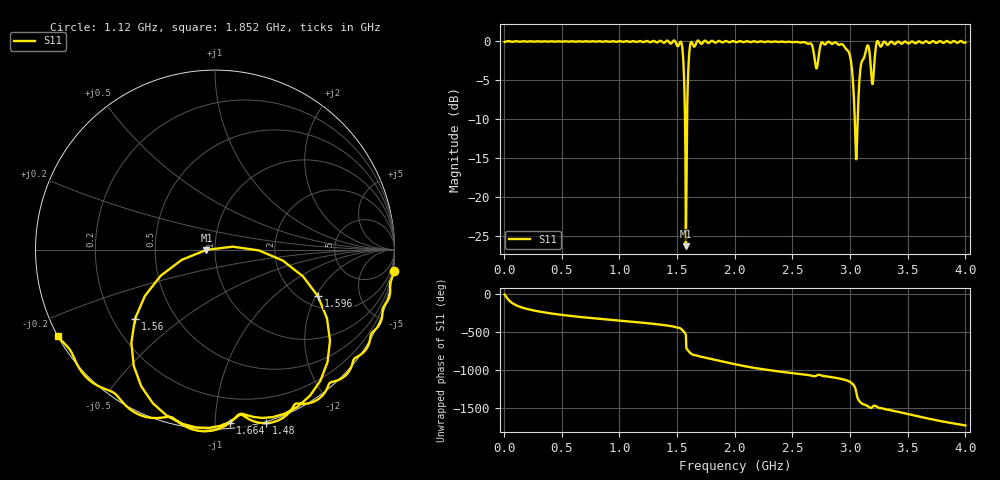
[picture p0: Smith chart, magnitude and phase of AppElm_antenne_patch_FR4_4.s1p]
! TOUCHSTONE file generated by CST MICROWAVE STUDIO
! Date and time: Tue Jun  7 19:07:17 2022
! Project name: AppElm_antenne_patch_FR4.cst
! Parameters = {L=45; W=52.65; e=0.035; h=1.6; lambda=0.190476; ls=120; w0=1.6; w1=0.533333; ws=120; y0=20; y1=23.8095}
! Header version: 2018
! Port assignment regex: !\s*Touchstone port\s*([0-9]+)\s*=\s*(CST MWS port|CST DS port)\s*([0-9]+|Zmin|Zmax)\s*\(\"(.*)\"\)(\s*mode\s*([0-9]+))?.*
! Touchstone port assignment:
! Touchstone port 1 = CST MWS port 1 ("")
# GHz S MA R 50
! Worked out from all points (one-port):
!   1000 points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, 4 MHz to 4 GHz, reference 50 ohm
!   lowest |S11| = -26.4 dB at 1.576 GHz (marker M1), VSWR 1.10, Z = 45.4 - j0.148 ohm
!   |S11| at or under -10 dB: 1.568 GHz to 1.586 GHz (17.87 MHz wide, 1.13 % of centre); 3.041 GHz to 3.066 GHz (25.64 MHz wide, 0.84 % of centre)
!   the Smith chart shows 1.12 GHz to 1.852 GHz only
!   S11 on the Smith chart (normalised r, x): 1.12 GHz: -1, -17; 1.48 GHz: -0.01, -1.33; 1.56 GHz: 0.29, -0.35; 1.596 GHz: 2.42, -2.08; 1.664 GHz: 0.04, -1.09; 1.852 GHz: -0.00, -0.26
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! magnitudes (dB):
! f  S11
! 4 MHz  -0.1
! 504 MHz  0.0
! 1.004 GHz  0.0
! 1.12 GHz  0.0
! 1.48 GHz  0.1
! 1.504 GHz  -0.6
! 1.54 GHz  -0.3
! 1.56 GHz  -4.6
! 1.576 GHz  -26.4
! 1.596 GHz  -4.0
! 1.604 GHz  -1.7
! 1.616 GHz  -0.3
! 1.664 GHz  -0.3
! 1.852 GHz  0.0
! 2.004 GHz  -0.1
! 2.504 GHz  -0.1
! 2.656 GHz  -0.2
! 2.708 GHz  -3.5
! 2.76 GHz  -0.1
! 2.928 GHz  -0.3
! 3.004 GHz  -2.2
! 3.052 GHz  -15.2
! 3.096 GHz  -2.9
! 3.144 GHz  -0.7
! 3.192 GHz  -5.5
! 3.24 GHz  0.1
! 3.504 GHz  -0.3
! 4 GHz  -0.1
